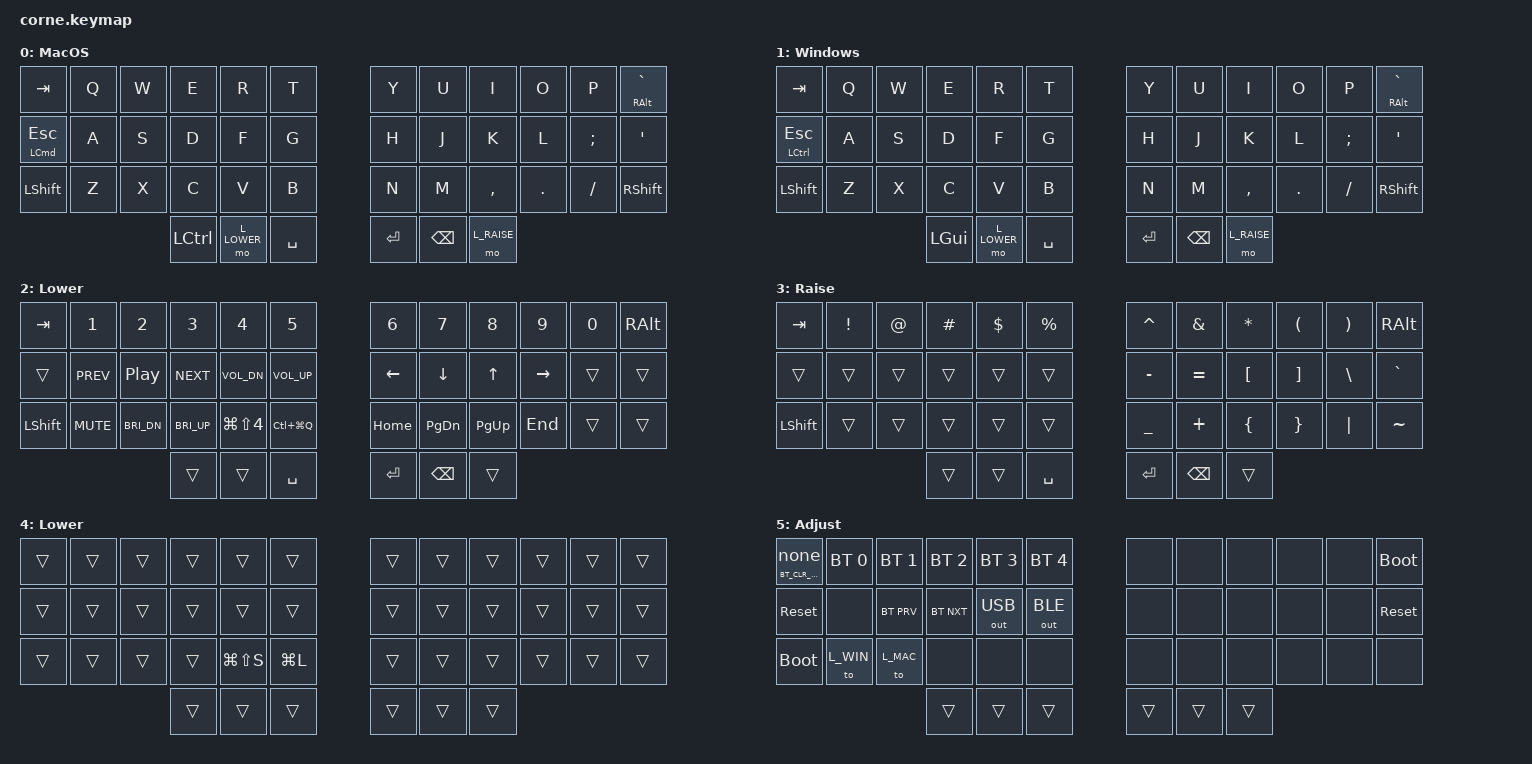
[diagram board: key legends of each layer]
/*
 * Copyright (c) 2020 The ZMK Contributors
 *
 * SPDX-License-Identifier: MIT
 */

#include <behaviors.dtsi>
#include <dt-bindings/zmk/keys.h>
#include <dt-bindings/zmk/bt.h>
#include <dt-bindings/zmk/outputs.h>

// Layer indices
#define L_MAC   0
#define L_WIN   1
#define L_LOWER 2
#define L_RAISE 3
#define L_WIN_LOWER 4
#define L_ADJUST 5

/ {
        behaviors {
                // Hold for 3 seconds to clear the current Bluetooth profile.
                // Releasing early (or a stray tap) does nothing.
                bt_clr_hold: bt_clr_hold {
                        compatible = "zmk,behavior-hold-tap";
                        #binding-cells = <2>;
                        flavor = "tap-preferred";
                        tapping-term-ms = <3000>;
                        bindings = <&bt>, <&none>;
                };
        };

        // Lower + Raise together -> Adjust.
        // Windows mode + Lower -> Windows versions of the screenshot/lock keys.
        conditional_layers {
                compatible = "zmk,conditional-layers";
                win_lower {
                        if-layers = <L_WIN L_LOWER>;
                        then-layer = <L_WIN_LOWER>;
                };
                adjust {
                        if-layers = <L_LOWER L_RAISE>;
                        then-layer = <L_ADJUST>;
                };
        };

        keymap {
                compatible = "zmk,keymap";

                default_layer {
// -----------------------------------------------------------------------------------------
// |   TAB |  Q  |  W  |  E  |  R  |  T  |   |  Y  |  U   |  I  |  O  |  P  | `/ALT |
// |ESC/CMD|  A  |  S  |  D  |  F  |  G  |   |  H  |  J   |  K  |  L  |  ;  |  '   |
// |  SHFT |  Z  |  X  |  C  |  V  |  B  |   |  N  |  M   |  ,  |  .  |  /  | SHFT |
//                    | CTRL | LWR | SPC |   | ENT | BSPC | RSE |
                        display-name = "MacOS";
                        bindings = <
   &kp TAB       &kp Q &kp W &kp E &kp R &kp T   &kp Y &kp U  &kp I     &kp O   &kp P    &mt RALT GRAVE
   &mt LCMD ESC  &kp A &kp S &kp D &kp F &kp G   &kp H &kp J  &kp K     &kp L   &kp SEMI &kp SQT
   &kp LSHFT     &kp Z &kp X &kp C &kp V &kp B   &kp N &kp M  &kp COMMA &kp DOT &kp FSLH &kp RSHIFT
                  &kp LCTRL &mo L_LOWER &kp SPACE   &kp RET &kp BSPC &mo L_RAISE
                        >;
                };

                windows_layer {
// -----------------------------------------------------------------------------------------
// |   TAB  |  Q  |  W  |  E  |  R  |  T  |   |  Y  |  U   |  I  |  O  |  P  | `/ALT |
// |ESC/CTRL|  A  |  S  |  D  |  F  |  G  |   |  H  |  J   |  K  |  L  |  ;  |  '   |
// |  SHFT  |  Z  |  X  |  C  |  V  |  B  |   |  N  |  M   |  ,  |  .  |  /  | SHFT |
//                    | GUI | LWR | SPC |   | ENT | BSPC | RSE |
                        display-name = "Windows";
                        bindings = <
   &kp TAB       &kp Q &kp W &kp E &kp R &kp T   &kp Y &kp U  &kp I     &kp O   &kp P    &mt RALT GRAVE
   &mt LCTRL ESC &kp A &kp S &kp D &kp F &kp G   &kp H &kp J  &kp K     &kp L   &kp SEMI &kp SQT
   &kp LSHFT     &kp Z &kp X &kp C &kp V &kp B   &kp N &kp M  &kp COMMA &kp DOT &kp FSLH &kp RSHIFT
                  &kp LGUI &mo L_LOWER &kp SPACE   &kp RET &kp BSPC &mo L_RAISE
                        >;
                };

                lower_layer {
// -----------------------------------------------------------------------------------------
// |  TAB |  1   |  2   |  3   |  4   |  5   |   |  6   |  7   |  8   |  9  |  0  | ALT |
// |      | PREV | PLAY | NEXT | VOL- | VOL+ |   | LFT  | DWN  |  UP  | RGT |     |     |
// | SHFT | MUTE | BRI- | BRI+ | SHOT | LOCK |   | HOME | PGDN | PGUP | END |     |     |
//                      |      |      | SPC  |   | ENT  | BSPC |      |
// SHOT = screenshot of a selection (Cmd+Shift+4 / Win+Shift+S)
// LOCK = lock screen (Ctrl+Cmd+Q / Win+L)
                        display-name = "Lower";
                        bindings = <
   &kp TAB    &kp N1     &kp N2       &kp N3       &kp N4          &kp N5            &kp N6   &kp N7    &kp N8    &kp N9    &kp N0 &kp RALT
   &trans     &kp C_PREV &kp C_PP     &kp C_NEXT   &kp C_VOL_DN    &kp C_VOL_UP      &kp LEFT &kp DOWN  &kp UP    &kp RIGHT &trans &trans
   &kp LSHFT  &kp C_MUTE &kp C_BRI_DN &kp C_BRI_UP &kp LG(LS(N4))  &kp LC(LG(Q))     &kp HOME &kp PG_DN &kp PG_UP &kp END   &trans &trans
                                      &trans       &trans          &kp SPACE         &kp RET  &kp BSPC &trans
                        >;
                };

                raise_layer {
// -----------------------------------------------------------------------------------------
// |  TAB |  !  |  @  |  #  |  $  |  %  |   |  ^  |  &  |  *  |  (  |  )  | ALT |
// |      |     |     |     |     |     |   |  -  |  =  |  [  |  ]  |  \  |  `   |
// | SHFT |     |     |     |     |     |   |  _  |  +  |  {  |  }  | "|" |  ~   |
//                    |     |     | SPC |   | ENT | BSPC |    |
                        display-name = "Raise";
                        bindings = <
   &kp  TAB  &kp EXCL &kp AT &kp HASH &kp DLLR &kp PRCNT   &kp CARET &kp AMPS  &kp ASTRK       &kp LPAR &kp RPAR &kp RALT
   &trans    &trans   &trans &trans   &trans   &trans      &kp MINUS &kp EQUAL &kp LBKT        &kp RBKT &kp BSLH &kp GRAVE
   &kp LSHFT &trans   &trans &trans   &trans   &trans      &kp UNDER &kp PLUS  &kp LBRC        &kp RBRC &kp PIPE &kp TILDE
                             &trans   &trans   &kp SPACE   &kp RET   &kp BSPC &trans
                        >;
                };

                win_lower_layer {
// Active automatically in Windows mode while Lower is held.
// Only overrides SHOT (Win+Shift+S) and LOCK (Win+L); everything else falls through to Lower.
                        display-name = "Lower";
                        bindings = <
   &trans &trans &trans &trans &trans          &trans          &trans &trans &trans &trans &trans &trans
   &trans &trans &trans &trans &trans          &trans          &trans &trans &trans &trans &trans &trans
   &trans &trans &trans &trans &kp LG(LS(S))   &kp LG(L)       &trans &trans &trans &trans &trans &trans
                        &trans &trans          &trans          &trans &trans &trans
                        >;
                };

                adjust_layer {
// Hold Lower + Raise.
// -----------------------------------------------------------------------------------------
// |BTCLR*| BT1 | BT2 | BT3 | BT4 | BT5 |   |     |     |     |     |     | BOOT |
// | RST  |     |BTPRV|BTNXT| USB | BLE |   |     |     |     |     |     | RST  |
// | BOOT | WIN | MAC |     |     |     |   |     |     |     |     |     |      |
//                    |     |     |     |   |     |     |     |
// * BTCLR must be held for 3 seconds.
// BOOT/RST act on the half they are pressed on (left keys = left half, right keys = right half).
// USB/BLE choose where keystrokes go when the left half is plugged in.
                        display-name = "Adjust";
                        bindings = <
   &bt_clr_hold BT_CLR_CMD 0 &bt BT_SEL 0 &bt BT_SEL 1 &bt BT_SEL 2 &bt BT_SEL 3 &bt BT_SEL 4   &none &none &none &none &none &bootloader
   &sys_reset   &none        &bt BT_PRV   &bt BT_NXT   &out OUT_USB &out OUT_BLE                &none &none &none &none &none &sys_reset
   &bootloader  &to L_WIN      &to L_MAC      &none        &none        &none                       &none &none &none &none &none &none
                                          &trans       &trans       &trans                      &trans &trans &trans
                        >;
                };

                extra_1 {
                        status = "reserved";
                };

                extra_2 {
                        status = "reserved";
                };

                extra_3 {
                        status = "reserved";
                };
        };

        combos {
            compatible = "zmk,combos";
            combo_caps_word {
                timeout-ms = <100>;
                key-positions = <24 35>;
                bindings = <&caps_word>;
            };
        };
};
